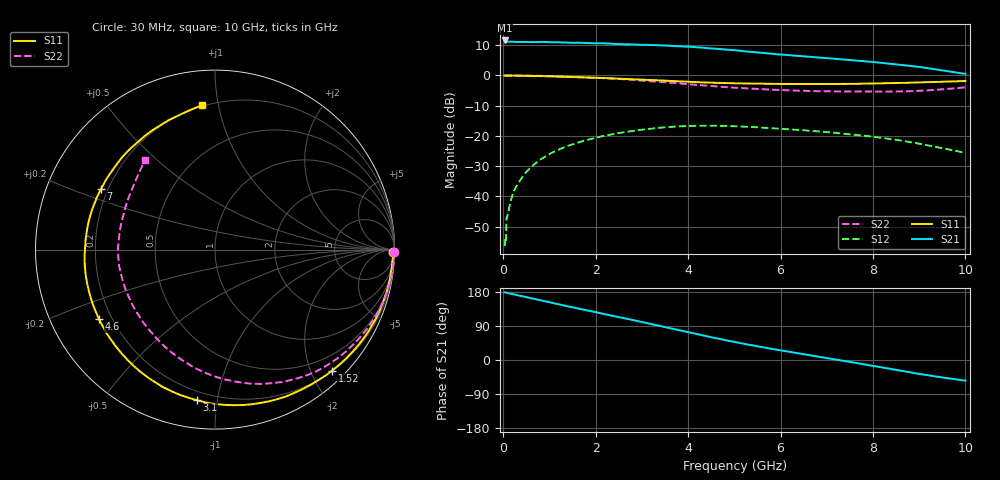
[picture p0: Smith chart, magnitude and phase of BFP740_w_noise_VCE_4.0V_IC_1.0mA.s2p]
! Infineon Technologies  Discrete & RF Semiconductors
! BFP740
! VCE =  4.0 V,  IC =  1.0 mA
! Common Emitter S-Parameters:  Jan 2016
# GHz  S  MA  R  50
!  f  S11  S21  S12  S22
! GHz  MAG  ANG  MAG  ANG  MAG  ANG  MAG  ANG
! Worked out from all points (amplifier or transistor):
!   229 points, 30 MHz to 10 GHz, reference 50 ohm
!   highest |S21| = 11.5 dB at 30 MHz (marker M1)
!   |S21| within 3 dB of that: start of sweep to 4.805 GHz
!   unconditionally stable (mu >= 1): 8.858 GHz to end of sweep
!   at 280 MHz: K = 0.04, MSG = 24.0 dB, |S12| = -36.8 dB
!   at 1.78 GHz: K = 0.15, MSG = 16.1 dB, |S12| = -21.5 dB
!   at 10 GHz: K = 1.39, MAG = 9.3 dB, |S12| = -25.6 dB
!   lowest NFmin = 0.50 dB at 450 MHz
!   S11 on the Smith chart (normalised r, x): 30 MHz: open; 1.52 GHz: 0.21, -2.34; 3.1 GHz: 0.15, -0.87; 4.6 GHz: 0.15, -0.27; 7 GHz: 0.17, +0.24; 10 GHz: 0.19, +0.89
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0.03  0.9914 -0.9  3.78 178.6  0.0015 90.9  0.9993 -0.7
0.04  0.9919 -1.2  3.563 178.3  0.0018 73.9  0.9987 -0.9
0.06  0.9943 -1.8  3.568 177.8  0.0019 87.7  0.9976 -1.2
0.07  0.9947 -2.1  3.567 177.5  0.0044 85.0  0.9993 -1.5
0.16  0.9906 -4.9  3.608 175.0  0.0083 82.8  0.9985 -3.4
0.24  0.9885 -7.2  3.604 172.8  0.0126 84.5  0.9966 -5.0
0.45  0.9855 -13.5  3.572 167.2  0.023 79.4  0.9931 -9.4
0.9  0.97 -27.2  3.577 155.1  0.0452 69.1  0.9771 -18.8
1.52  0.938 -46.0  3.45 138.6  0.0733 54.5  0.943 -31.6
1.7  0.9275 -51.7  3.46 133.8  0.0809 50.6  0.9314 -35.4
2.3  0.8965 -70.8  3.366 118.2  0.1043 37.1  0.8889 -48.3
3.1  0.8452 -97.0  3.206 97.5  0.1293 19.2  0.8139 -65.9
3.4  0.8248 -107.4  3.14 89.6  0.1366 12.4  0.7817 -73.1
3.9  0.7908 -124.9  3.015 76.1  0.1448 0.9  0.7272 -85.3
4.6  0.7538 -149.2  2.765 57.6  0.1473 -14.8  0.6591 -102.1
5.1  0.7371 -164.6  2.562 45.3  0.1433 -24.7  0.6207 -113.3
5.8  0.7227 177.1  2.288 29.7  0.1341 -36.9  0.5808 -128.1
6.8  0.7195 156.2  1.978 9.2  0.1187 -51.6  0.5479 -151.3
7  0.7192 152.0  1.93 5.1  0.1156 -54.5  0.5457 -156.1
8.4  0.744 121.9  1.555 -24.0  0.0881 -72.2  0.5405 168.9
9  0.7658 109.8  1.381 -36.8  0.0743 -77.6  0.5573 151.9
10  0.8076 95.2  1.059 -54.6  0.0522 -79.3  0.6346 127.9
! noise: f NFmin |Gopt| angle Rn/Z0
0.45  0.5  0.62  13  0.41
0.9  0.58  0.64  21  0.39
1.5  0.71  0.61  32  0.38
1.9  0.76  0.58  45  0.37
2.4  0.81  0.58  52  0.35
3.5  0.96  0.55  78  0.32
5.5  1.37  0.4  148  0.29
10  2.28  0.63  -92  0.39
